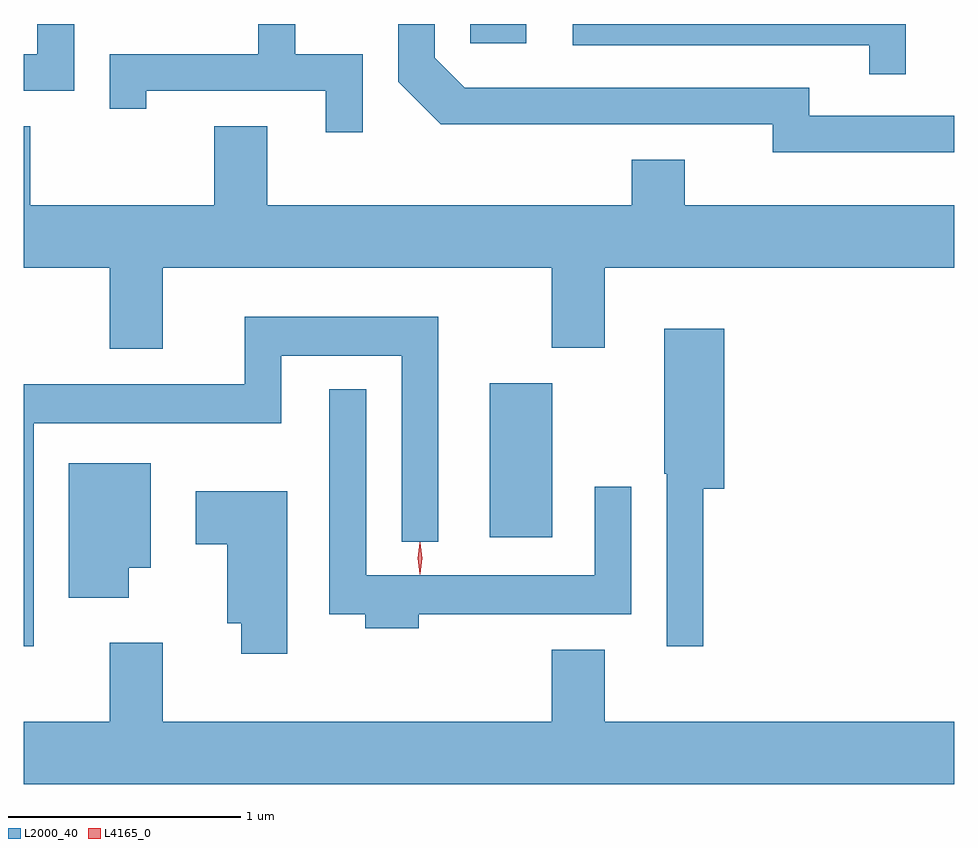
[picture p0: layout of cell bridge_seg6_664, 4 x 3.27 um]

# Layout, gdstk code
import gdstk
lib = gdstk.Library(unit=1e-6, precision=1e-09)
def R(c, l, rs):  # rectangles x0, y0, x1, y1
    for r in rs: c.add(gdstk.rectangle(r[:2], r[2:], *l))
def P(c, l, *ps):  # polygons
    for p in ps: c.add(gdstk.Polygon(p, *l))
L2000_40 = (2000, 40)
L4165_0 = (4165, 0)

bridge_seg6_664 = lib.new_cell('bridge_seg6_664')
R(bridge_seg6_664, L2000_40, [(311.826,1566.636,312.094,1567.299), (311.741,1568.761,311.983,1568.843)])
P(bridge_seg6_664, L2000_40, [(313.614,1568.843),(312.183,1568.843),(312.183,1568.751),(313.456,1568.751),(313.456,1568.628),(313.614,1568.628)],
  [(311.279,1568.714),(310.989,1568.714),(310.989,1568.843),(310.831,1568.843),(310.831,1568.714),(310.191,1568.714),(310.191,1568.478),(310.349,1568.478),(310.349,1568.556),(311.121,1568.556),(311.121,1568.378),(311.279,1568.378)],
  [(313.822,1568.449),(313.199,1568.449),(313.199,1568.569),(311.717,1568.569),(311.589,1568.697),(311.589,1568.843),(311.431,1568.843),(311.431,1568.594),(311.614,1568.411),(313.041,1568.411),(313.041,1568.291),(313.822,1568.291)],
  [(310.039,1568.843),(309.881,1568.843),(309.881,1568.714),(309.822,1568.714),(309.822,1568.556),(310.039,1568.556)],
  [(310.419,1567.796),(312.091,1567.796),(312.091,1567.451),(312.319,1567.451),(312.319,1567.796),(313.822,1567.796),(313.822,1568.064),(312.664,1568.064),(312.664,1568.259),(312.436,1568.259),(312.436,1568.064),(310.869,1568.064),(310.869,1568.404),(310.641,1568.404),(310.641,1568.064),(309.849,1568.064),(309.849,1568.404),(309.822,1568.404),(309.822,1567.796),(310.191,1567.796),(310.191,1567.446),(310.419,1567.446)],
  [(309.864,1567.126),(310.929,1567.126),(310.929,1567.416),(311.446,1567.416),(311.446,1566.618),(311.604,1566.618),(311.604,1567.584),(310.771,1567.584),(310.771,1567.294),(309.822,1567.294),(309.822,1566.168),(309.864,1566.168)],
  [(312.744,1566.846),(312.834,1566.846),(312.834,1567.534),(312.576,1567.534),(312.576,1566.91),(312.586,1566.91),(312.586,1566.168),(312.744,1566.168)],
  [(311.519,1566.306),(312.434,1566.306),(312.434,1566.853),(312.276,1566.853),(312.276,1566.474),(311.294,1566.474),(311.294,1567.273),(311.136,1567.273),(311.136,1566.306),(311.291,1566.306),(311.291,1566.246),(311.519,1566.246)],
  [(310.274,1566.506),(310.369,1566.506),(310.369,1566.954),(310.016,1566.954),(310.016,1566.376),(310.274,1566.376)],
  [(310.954,1566.834),(310.561,1566.834),(310.561,1566.606),(310.696,1566.606),(310.696,1566.266),(310.756,1566.266),(310.756,1566.136),(310.954,1566.136)],
  [(313.822,1565.844),(312.319,1565.844),(312.319,1566.154),(312.091,1566.154),(312.091,1565.844),(310.419,1565.844),(310.419,1566.184),(310.191,1566.184),(310.191,1565.844),(309.822,1565.844),(309.822,1565.576),(313.822,1565.576)])
P(bridge_seg6_664, L4165_0, [(311.525,1566.48),(311.516,1566.546),(311.525,1566.612),(311.526,1566.613),(311.526,1566.612),(311.536,1566.546),(311.526,1566.48),(311.526,1566.48)],
  [(311.525,1566.477),(311.516,1566.547),(311.525,1566.616),(311.526,1566.616),(311.526,1566.616),(311.536,1566.547),(311.526,1566.477),(311.526,1566.477)])

lib.write_gds('bridge_seg6_664.gds')
